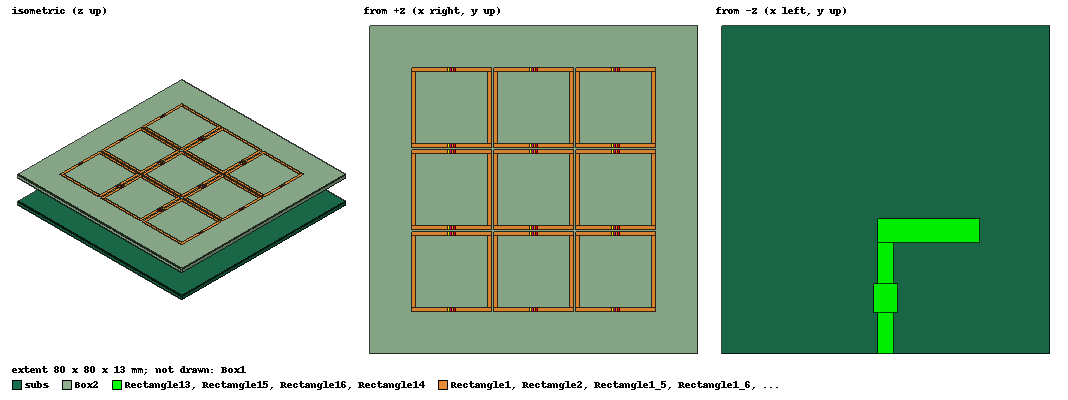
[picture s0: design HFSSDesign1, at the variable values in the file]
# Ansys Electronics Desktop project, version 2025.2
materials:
  vacuum: permittivity=1
  FR4_epoxy: permittivity=4.4 dielectric_loss_tangent=0.02
  air: permittivity=1.0006 permeability=1.0000004

design HFSSDesign1 (HFSS, HFSS Terminal Network, model units mm)
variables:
  h = 1.6mm
  larm = 25mm
  warm = 6mm
  wfeed = 4mm
  lfeed = 10mm
  lgap = 7mm
  wgap = 6mm
  lsub = 80mm
  wsub = 80mm
  l = -2
  l1 = -2mm
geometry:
  subs [FR4_epoxy] = box(corner=(-lsub/2, -wsub/2+10mm, (l1)), size=(lsub, wsub, h))
  Port = rectangle(corner=(-2mm, -40mm, l1), z_size=1.6mm, x_size=4mm)
  Box1 [air] = box(corner=(-75mm, -75mm, -50mm), size=(150mm, 150mm, 100mm))
  Rectangle9 = rectangle(corner=(-wfeed/2, warm/2, (h+l1)), x_size=larm, y_size=-warm)
  Rectangle10 = rectangle(corner=(-wfeed/2, -warm/2, (h+l1)), x_size=wfeed, y_size=-lfeed)
  Rectangle11 = rectangle(corner=(wgap/2, -(lfeed+warm/2), (h+l1)), x_size=-wgap, y_size=-lgap)
  Rectangle12 = rectangle(corner=(-wfeed/2, -(warm/2+lfeed+lgap), (h+l1)), x_size=wfeed, y_size=-lfeed)
  Rectangle13 = rectangle(corner=(wfeed/2, -warm/2, l1), x_size=-larm, y_size=warm)
  Rectangle14 = rectangle(corner=(-wfeed/2, -warm/2, l1), x_size=wfeed, y_size=-lfeed)
  Rectangle15 = rectangle(corner=(wgap/2, -(lfeed+warm/2), l1), x_size=-wgap, y_size=-lgap)
  Rectangle16 = rectangle(corner=(-wfeed/2, -(warm/2+lfeed+lgap), l1), x_size=wfeed, y_size=-lfeed)
  [Rectangle9..Rectangle16].move(0mm, -10mm, 0mm)
  subs.move(0mm, -20mm, 0mm)
  subs.move(0mm, 10mm, 0mm)
  [subs, Port, Rectangle9..Rectangle16].move(0mm, 0mm, -6mm)
  Box2 [FR4_epoxy] = box(corner=(0mm, 0mm, 10mm), size=(80mm, 80mm, 1.6mm))
  Box2.move(-40mm, -40mm, 0mm)
  Box2.move(0mm, 0mm, -6.6mm)
  Box2.move(-40mm, 0mm, 3.4mm)
  Box2.move(90mm, 0mm, -5mm)
  Box2.move(1mm, -0.375mm, 2.2mm)
  Box2.move(-49.5mm, 0.375mm, 4.4mm)
  Box2.move(-1.5mm, 0mm, -10mm)
  Box2.move(0mm, 0mm, 5mm)
  Box2.rotate(axis=X, angle=90deg)
  Box2.rotate(axis=X, angle=180deg)
  Box2.rotate(axis=X, angle=-270deg)
  Rectangle1 = rectangle(corner=(50.25mm, 68.75mm, 11.6mm), x_size=19.5mm, y_size=1mm)
  Rectangle19 = rectangle(corner=(59mm, 68.75mm, 11.6mm), x_size=2mm, y_size=1mm)
  Rectangle1.subtract(Rectangle19)
  Rectangle1_3, Rectangle1_4 = Rectangle1.duplicate_along_line(step=(-20mm, 0mm, 0mm), total=3)
  Rectangle1.move(-40mm, -40mm, 0mm)
  Rectangle1.move(0mm, 0mm, -6.6mm)
  Rectangle1.move(-40mm, 0mm, 3.4mm)
  Rectangle1.move(90mm, 0mm, -5mm)
  Rectangle1.move(1mm, -0.375mm, 2.2mm)
  Rectangle1.move(-49.5mm, 0.375mm, 4.4mm)
  Rectangle1.move(-1.5mm, 0mm, -10mm)
  Rectangle1.move(0mm, 0mm, 5mm)
  Rectangle1.rotate(axis=X, angle=90deg)
  Rectangle1.rotate(axis=X, angle=180deg)
  Rectangle1.rotate(axis=X, angle=-270deg)
  Rectangle1_5, Rectangle1_6 = Rectangle1.duplicate_along_line(step=(0mm, -20mm, 0mm), total=3)
  Rectangle2 = rectangle(corner=(50.25mm, 50.25mm, 11.6mm), x_size=19.5mm, y_size=1mm)
  Rectangle20 = rectangle(corner=(59mm, 50.25mm, 11.6mm), x_size=2mm, y_size=1mm)
  Rectangle2.subtract(Rectangle20)
  Rectangle2_3, Rectangle2_4 = Rectangle2.duplicate_along_line(step=(-20mm, 0mm, 0mm), total=3)
  Rectangle2.move(-40mm, -40mm, 0mm)
  Rectangle2.move(0mm, 0mm, -6.6mm)
  Rectangle2.move(-40mm, 0mm, 3.4mm)
  Rectangle2.move(90mm, 0mm, -5mm)
  Rectangle2.move(1mm, -0.375mm, 2.2mm)
  Rectangle2.move(-49.5mm, 0.375mm, 4.4mm)
  Rectangle2.move(-1.5mm, 0mm, -10mm)
  Rectangle2.move(0mm, 0mm, 5mm)
  Rectangle2.rotate(axis=X, angle=90deg)
  Rectangle2.rotate(axis=X, angle=180deg)
  Rectangle2.rotate(axis=X, angle=-270deg)
  Rectangle2_5, Rectangle2_6 = Rectangle2.duplicate_along_line(step=(0mm, -20mm, 0mm), total=3)
  Rectangle21 = rectangle(corner=(69.75mm, 68.75mm, 11.6mm), x_size=-1mm, y_size=-17.5mm)
  Rectangle21_3, Rectangle21_4 = Rectangle21.duplicate_along_line(step=(-20mm, 0mm, 0mm), total=3)
  Rectangle21.move(-40mm, -40mm, 0mm)
  Rectangle21.move(0mm, 0mm, -6.6mm)
  Rectangle21.move(-40mm, 0mm, 3.4mm)
  Rectangle21.move(90mm, 0mm, -5mm)
  Rectangle21.move(1mm, -0.375mm, 2.2mm)
  Rectangle21.move(-49.5mm, 0.375mm, 4.4mm)
  Rectangle21.move(-1.5mm, 0mm, -10mm)
  Rectangle21.move(0mm, 0mm, 5mm)
  Rectangle21.rotate(axis=X, angle=90deg)
  Rectangle21.rotate(axis=X, angle=180deg)
  Rectangle21.rotate(axis=X, angle=-270deg)
  Rectangle21_5, Rectangle21_6 = Rectangle21.duplicate_along_line(step=(0mm, -20mm, 0mm), total=3)
  Rectangle22 = rectangle(corner=(51.25mm, 68.75mm, 11.6mm), x_size=-1mm, y_size=-17.5mm)
  Rectangle22_3, Rectangle22_4 = Rectangle22.duplicate_along_line(step=(-20mm, 0mm, 0mm), total=3)
  Rectangle22.move(-40mm, -40mm, 0mm)
  Rectangle22.move(0mm, 0mm, -6.6mm)
  Rectangle22.move(-40mm, 0mm, 3.4mm)
  Rectangle22.move(90mm, 0mm, -5mm)
  Rectangle22.move(1mm, -0.375mm, 2.2mm)
  Rectangle22.move(-49.5mm, 0.375mm, 4.4mm)
  Rectangle22.move(-1.5mm, 0mm, -10mm)
  Rectangle22.move(0mm, 0mm, 5mm)
  Rectangle22.rotate(axis=X, angle=90deg)
  Rectangle22.rotate(axis=X, angle=180deg)
  Rectangle22.rotate(axis=X, angle=-270deg)
  Rectangle22_5, Rectangle22_6 = Rectangle22.duplicate_along_line(step=(0mm, -20mm, 0mm), total=3)
  Rectangle1_3.move(-40mm, -40mm, 0mm)
  Rectangle1_3.move(0mm, 0mm, -6.6mm)
  Rectangle1_3.move(-40mm, 0mm, 3.4mm)
  Rectangle1_3.move(90mm, 0mm, -5mm)
  Rectangle1_3.move(1mm, -0.375mm, 2.2mm)
  Rectangle1_3.move(-49.5mm, 0.375mm, 4.4mm)
  Rectangle1_3.move(-1.5mm, 0mm, -10mm)
  Rectangle1_3.move(0mm, 0mm, 5mm)
  Rectangle1_3.rotate(axis=X, angle=90deg)
  Rectangle1_3.rotate(axis=X, angle=180deg)
  Rectangle1_3.rotate(axis=X, angle=-270deg)
  Rectangle1_3_1, Rectangle1_3_2 = Rectangle1_3.duplicate_along_line(step=(0mm, -20mm, 0mm), total=3)
  Rectangle1_4.move(-40mm, -40mm, 0mm)
  Rectangle1_4.move(0mm, 0mm, -6.6mm)
  Rectangle1_4.move(-40mm, 0mm, 3.4mm)
  Rectangle1_4.move(90mm, 0mm, -5mm)
  Rectangle1_4.move(1mm, -0.375mm, 2.2mm)
  Rectangle1_4.move(-49.5mm, 0.375mm, 4.4mm)
  Rectangle1_4.move(-1.5mm, 0mm, -10mm)
  Rectangle1_4.move(0mm, 0mm, 5mm)
  Rectangle1_4.rotate(axis=X, angle=90deg)
  Rectangle1_4.rotate(axis=X, angle=180deg)
  Rectangle1_4.rotate(axis=X, angle=-270deg)
  Rectangle1_4_1, Rectangle1_4_2 = Rectangle1_4.duplicate_along_line(step=(0mm, -20mm, 0mm), total=3)
  Rectangle2_3.move(-40mm, -40mm, 0mm)
  Rectangle2_3.move(0mm, 0mm, -6.6mm)
  Rectangle2_3.move(-40mm, 0mm, 3.4mm)
  Rectangle2_3.move(90mm, 0mm, -5mm)
  Rectangle2_3.move(1mm, -0.375mm, 2.2mm)
  Rectangle2_3.move(-49.5mm, 0.375mm, 4.4mm)
  Rectangle2_3.move(-1.5mm, 0mm, -10mm)
  Rectangle2_3.move(0mm, 0mm, 5mm)
  Rectangle2_3.rotate(axis=X, angle=90deg)
  Rectangle2_3.rotate(axis=X, angle=180deg)
  Rectangle2_3.rotate(axis=X, angle=-270deg)
  Rectangle2_3_1, Rectangle2_3_2 = Rectangle2_3.duplicate_along_line(step=(0mm, -20mm, 0mm), total=3)
  Rectangle2_4.move(-40mm, -40mm, 0mm)
  Rectangle2_4.move(0mm, 0mm, -6.6mm)
  Rectangle2_4.move(-40mm, 0mm, 3.4mm)
  Rectangle2_4.move(90mm, 0mm, -5mm)
  Rectangle2_4.move(1mm, -0.375mm, 2.2mm)
  Rectangle2_4.move(-49.5mm, 0.375mm, 4.4mm)
  Rectangle2_4.move(-1.5mm, 0mm, -10mm)
  Rectangle2_4.move(0mm, 0mm, 5mm)
  Rectangle2_4.rotate(axis=X, angle=90deg)
  Rectangle2_4.rotate(axis=X, angle=180deg)
  Rectangle2_4.rotate(axis=X, angle=-270deg)
  Rectangle2_4_1, Rectangle2_4_2 = Rectangle2_4.duplicate_along_line(step=(0mm, -20mm, 0mm), total=3)
  Rectangle21_3.move(-40mm, -40mm, 0mm)
  Rectangle21_3.move(0mm, 0mm, -6.6mm)
  Rectangle21_3.move(-40mm, 0mm, 3.4mm)
  Rectangle21_3.move(90mm, 0mm, -5mm)
  Rectangle21_3.move(1mm, -0.375mm, 2.2mm)
  Rectangle21_3.move(-49.5mm, 0.375mm, 4.4mm)
  Rectangle21_3.move(-1.5mm, 0mm, -10mm)
  Rectangle21_3.move(0mm, 0mm, 5mm)
  Rectangle21_3.rotate(axis=X, angle=90deg)
  Rectangle21_3.rotate(axis=X, angle=180deg)
  Rectangle21_3.rotate(axis=X, angle=-270deg)
  Rectangle21_3_1, Rectangle21_3_2 = Rectangle21_3.duplicate_along_line(step=(0mm, -20mm, 0mm), total=3)
  Rectangle21_4.move(-40mm, -40mm, 0mm)
  Rectangle21_4.move(0mm, 0mm, -6.6mm)
  Rectangle21_4.move(-40mm, 0mm, 3.4mm)
  Rectangle21_4.move(90mm, 0mm, -5mm)
  Rectangle21_4.move(1mm, -0.375mm, 2.2mm)
  Rectangle21_4.move(-49.5mm, 0.375mm, 4.4mm)
  Rectangle21_4.move(-1.5mm, 0mm, -10mm)
  Rectangle21_4.move(0mm, 0mm, 5mm)
  Rectangle21_4.rotate(axis=X, angle=90deg)
  Rectangle21_4.rotate(axis=X, angle=180deg)
  Rectangle21_4.rotate(axis=X, angle=-270deg)
  Rectangle21_4_1, Rectangle21_4_2 = Rectangle21_4.duplicate_along_line(step=(0mm, -20mm, 0mm), total=3)
  Rectangle22_3.move(-40mm, -40mm, 0mm)
  Rectangle22_3.move(0mm, 0mm, -6.6mm)
  Rectangle22_3.move(-40mm, 0mm, 3.4mm)
  Rectangle22_3.move(90mm, 0mm, -5mm)
  Rectangle22_3.move(1mm, -0.375mm, 2.2mm)
  Rectangle22_3.move(-49.5mm, 0.375mm, 4.4mm)
  Rectangle22_3.move(-1.5mm, 0mm, -10mm)
  Rectangle22_3.move(0mm, 0mm, 5mm)
  Rectangle22_3.rotate(axis=X, angle=90deg)
  Rectangle22_3.rotate(axis=X, angle=180deg)
  Rectangle22_3.rotate(axis=X, angle=-270deg)
  Rectangle22_3_1, Rectangle22_3_2 = Rectangle22_3.duplicate_along_line(step=(0mm, -20mm, 0mm), total=3)
  Rectangle22_4.move(-40mm, -40mm, 0mm)
  Rectangle22_4.move(0mm, 0mm, -6.6mm)
  Rectangle22_4.move(-40mm, 0mm, 3.4mm)
  Rectangle22_4.move(90mm, 0mm, -5mm)
  Rectangle22_4.move(1mm, -0.375mm, 2.2mm)
  Rectangle22_4.move(-49.5mm, 0.375mm, 4.4mm)
  Rectangle22_4.move(-1.5mm, 0mm, -10mm)
  Rectangle22_4.move(0mm, 0mm, 5mm)
  Rectangle22_4.rotate(axis=X, angle=90deg)
  Rectangle22_4.rotate(axis=X, angle=180deg)
  Rectangle22_4.rotate(axis=X, angle=-270deg)
  Rectangle22_4_1, Rectangle22_4_2 = Rectangle22_4.duplicate_along_line(step=(0mm, -20mm, 0mm), total=3)
  C1 = rectangle(corner=(-21mm, 29.75mm, 5mm), x_size=0.5mm, y_size=-1mm)
  C1_1 = C1.duplicate_along_line(step=(20mm, 3.5527137e-15mm, 0mm), total=2)
  C1_2, C1_3 = C1.duplicate_along_line(step=(0mm, -20mm, 0mm), total=3)
  L1 = rectangle(corner=(-20.5mm, 29.75mm, 5mm), x_size=0.5mm, y_size=-1mm)
  L1_1 = L1.duplicate_along_line(step=(20mm, 3.5527137e-15mm, 0mm), total=2)
  L1_2, L1_3 = L1.duplicate_along_line(step=(0mm, -20mm, 0mm), total=3)
  R1 = rectangle(corner=(-20mm, 29.75mm, 5mm), x_size=0.5mm, y_size=-1mm)
  R1_1 = R1.duplicate_along_line(step=(20mm, 3.5527137e-15mm, 0mm), total=2)
  R1_2, R1_3 = R1.duplicate_along_line(step=(0mm, -20mm, 0mm), total=3)
  C2 = rectangle(corner=(-19.5mm, 29.75mm, 5mm), x_size=0.5mm, y_size=-1mm)
  C2_1 = C2.duplicate_along_line(step=(20mm, 3.5527137e-15mm, 0mm), total=2)
  C2_2, C2_3 = C2.duplicate_along_line(step=(0mm, -20mm, 0mm), total=3)
  C1_1_1 = C1_1.duplicate_along_line(step=(20mm, -7.1054274e-15mm, 0mm), total=2)
  C1_1_2, C1_1_3 = C1_1.duplicate_along_line(step=(0mm, -20mm, 0mm), total=3)
  C1_1_5, C1_1_6 = C1_1.duplicate_along_line(step=(0mm, -20mm, 0mm), total=3)
  L1_1_1 = L1_1.duplicate_along_line(step=(20mm, -7.1054274e-15mm, 0mm), total=2)
  L1_1_2, L1_1_3 = L1_1.duplicate_along_line(step=(0mm, -20mm, 0mm), total=3)
  L1_1_5, L1_1_6 = L1_1.duplicate_along_line(step=(0mm, -20mm, 0mm), total=3)
  R1_1_1 = R1_1.duplicate_along_line(step=(20mm, -7.1054274e-15mm, 0mm), total=2)
  R1_1_2, R1_1_3 = R1_1.duplicate_along_line(step=(0mm, -20mm, 0mm), total=3)
  R1_1_5, R1_1_6 = R1_1.duplicate_along_line(step=(0mm, -20mm, 0mm), total=3)
  C2_1_1 = C2_1.duplicate_along_line(step=(20mm, -7.1054274e-15mm, 0mm), total=2)
  C2_1_2, C2_1_3 = C2_1.duplicate_along_line(step=(0mm, -20mm, 0mm), total=3)
  C2_1_5, C2_1_6 = C2_1.duplicate_along_line(step=(0mm, -20mm, 0mm), total=3)
  C1_1_1_1 = C1_1_1.duplicate_along_line(step=(0mm, -18.5mm, 0mm), total=3)  # copies kept: 1
  L1_1_1_1 = L1_1_1.duplicate_along_line(step=(0mm, -18.5mm, 0mm), total=3)  # copies kept: 1
  R1_1_1_1 = R1_1_1.duplicate_along_line(step=(0mm, -18.5mm, 0mm), total=3)  # copies kept: 1
  C2_1_1_1 = C2_1_1.duplicate_along_line(step=(0mm, -18.5mm, 0mm), total=3)  # copies kept: 1
  C1_2_1 = C1_2.duplicate_along_line(step=(0mm, 1.5mm, 0mm), total=2)
  L1_2_1 = L1_2.duplicate_along_line(step=(0mm, 1.5mm, 0mm), total=2)
  R1_2_1 = R1_2.duplicate_along_line(step=(0mm, 1.5mm, 0mm), total=2)
  C2_2_1 = C2_2.duplicate_along_line(step=(0mm, 1.5mm, 0mm), total=2)
  C1_2_1_1, C1_2_1_2 = C1_2_1.duplicate_along_line(step=(0mm, -20mm, 0mm), total=3)
  L1_2_1_1, L1_2_1_2 = L1_2_1.duplicate_along_line(step=(0mm, -20mm, 0mm), total=3)
  R1_2_1_1, R1_2_1_2 = R1_2_1.duplicate_along_line(step=(0mm, -20mm, 0mm), total=3)
  C2_2_1_1, C2_2_1_2 = C2_2_1.duplicate_along_line(step=(0mm, -20mm, 0mm), total=3)
  R1_1_2_1 = R1_1_2.duplicate_along_line(step=(0mm, 1.5mm, 0mm), total=2)
  R1_1_2_2 = R1_1_2.duplicate_along_line(step=(0mm, -20mm, 0mm), total=3)  # copies kept: 1
  C2_1_2_1 = C2_1_2.duplicate_along_line(step=(0mm, 1.5mm, 0mm), total=2)
  C2_1_2_2 = C2_1_2.duplicate_along_line(step=(0mm, -20mm, 0mm), total=3)  # copies kept: 1
  L1_1_2_1 = L1_1_2.duplicate_along_line(step=(0mm, 1.5mm, 0mm), total=2)
  L1_1_2_2 = L1_1_2.duplicate_along_line(step=(0mm, -20mm, 0mm), total=3)  # copies kept: 1
  C1_1_2_1 = C1_1_2.duplicate_along_line(step=(0mm, 1.5mm, 0mm), total=2)
  C1_1_2_2 = C1_1_2.duplicate_along_line(step=(0mm, -20mm, 0mm), total=3)  # copies kept: 1
  C1_1_2_1_1, C1_1_2_1_2 = C1_1_2_1.duplicate_along_line(step=(0mm, -20mm, 0mm), total=3)
  L1_1_2_1_1, L1_1_2_1_2 = L1_1_2_1.duplicate_along_line(step=(0mm, -20mm, 0mm), total=3)
  R1_1_2_1_1, R1_1_2_1_2 = R1_1_2_1.duplicate_along_line(step=(0mm, -20mm, 0mm), total=3)
  C2_1_2_1_1, C2_1_2_1_2 = C2_1_2_1.duplicate_along_line(step=(0mm, -20mm, 0mm), total=3)
  L1_1_1_1_1 = L1_1_1_1.duplicate_along_line(step=(0mm, -1.5mm, 0mm), total=2)
  L1_1_1_1_2, L1_1_1_1_3 = L1_1_1_1.duplicate_along_line(step=(0mm, -20mm, 0mm), total=3)
  C1_1_1_1_1 = C1_1_1_1.duplicate_along_line(step=(0mm, -1.5mm, 0mm), total=2)
  C1_1_1_1_2, C1_1_1_1_3 = C1_1_1_1.duplicate_along_line(step=(0mm, -20mm, 0mm), total=3)
  R1_1_1_1_1 = R1_1_1_1.duplicate_along_line(step=(0mm, -1.5mm, 0mm), total=2)
  R1_1_1_1_2, R1_1_1_1_3 = R1_1_1_1.duplicate_along_line(step=(0mm, -20mm, 0mm), total=3)
  C2_1_1_1_1 = C2_1_1_1.duplicate_along_line(step=(0mm, -1.5mm, 0mm), total=2)
  C2_1_1_1_2, C2_1_1_1_3 = C2_1_1_1.duplicate_along_line(step=(0mm, -20mm, 0mm), total=3)
  C1_1_1_1_2_1 = C1_1_1_1_2.duplicate_along_line(step=(0mm, -1.5mm, 0mm), total=2)
  L1_1_1_1_2_1 = L1_1_1_1_2.duplicate_along_line(step=(0mm, -1.5mm, 0mm), total=2)
  R1_1_1_1_2_1 = R1_1_1_1_2.duplicate_along_line(step=(0mm, -1.5mm, 0mm), total=2)
  C2_1_1_1_2_1 = C2_1_1_1_2.duplicate_along_line(step=(0mm, -1.5mm, 0mm), total=2)
  group topface = Rectangle9..Rectangle12
  group bottomface = Rectangle13..Rectangle16
  group METASURFACE1 = Rectangle1, Rectangle2, Rectangle21, Rectangle22, Rectangle1_3, Rectangle1_4, Rectangle2_3, Rectangle2_4, Rectangle21_3, Rectangle21_4, Rectangle22_3, Rectangle22_4, Rectangle1_5, Rectangle1_6, Rectangle2_5, Rectangle2_6, Rectangle21_5, Rectangle21_6, Rectangle22_5, Rectangle22_6, Rectangle1_3_1, Rectangle1_3_2, Rectangle1_4_1, Rectangle1_4_2, Rectangle2_3_1, Rectangle2_3_2, Rectangle2_4_1, Rectangle2_4_2, Rectangle21_3_1, Rectangle21_3_2, Rectangle21_4_1, Rectangle21_4_2, Rectangle22_3_1, Rectangle22_3_2, Rectangle22_4_1, Rectangle22_4_2
  group meta = Box2, C1, L1, R1, C2, C1_1, L1_1, R1_1, C2_1, C1_1_1, L1_1_1, R1_1_1, C2_1_1, C1_2, C1_3, L1_2, L1_3, R1_2, R1_3, C2_2, C2_3, C1_2_1, L1_2_1, R1_2_1, C2_2_1, C1_2_1_1, C1_2_1_2, L1_2_1_1, L1_2_1_2, R1_2_1_1, R1_2_1_2, C2_2_1_1, C2_2_1_2, R1_1_2, R1_1_3, C2_1_2, C2_1_3, L1_1_2, L1_1_3, C1_1_2, C1_1_3, C1_1_2_1, L1_1_2_1, R1_1_2_1, C2_1_2_1, R1_1_5, R1_1_6, C2_1_5, C2_1_6, L1_1_5, L1_1_6, C1_1_5, C1_1_6, C1_1_2_2, L1_1_2_2, R1_1_2_2, C2_1_2_2, C1_1_2_1_1, C1_1_2_1_2, L1_1_2_1_1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
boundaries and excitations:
  Rad1: Radiation Objects=Box1
  PerfE1: Perfect E Objects=[Rectangle13..Rectangle16]
  PerfE2: Perfect E Objects=[Rectangle9..Rectangle12]
  meta_perfE: Perfect E Objects=[Rectangle2_4, Rectangle21_4, Rectangle22_3, Rectangle2_3, Rectangle21_3, Rectangle22, Rectangle2, Rectangle21, Rectangle1, Rectangle1_3, Rectangle1_4, Rectangle22_4]
  meta_perfE1: Perfect E Objects=[Rectangle2_4_1, Rectangle21_4_1, Rectangle22_3_1, Rectangle2_3_1, Rectangle21_3_1, Rectangle22_5, Rectangle2_5, Rectangle21_5, Rectangle1_5, Rectangle1_3_1, Rectangle1_4_1, Rectangle22_4_1]
  meta_perfE2: Perfect E Objects=[Rectangle2_4_2, Rectangle21_4_2, Rectangle22_3_2, Rectangle2_3_2, Rectangle21_3_2, Rectangle22_6, Rectangle2_6, Rectangle21_6, Rectangle1_6, Rectangle1_3_2, Rectangle1_4_2, Rectangle22_4_2]
  metac1: Lumped RLC Objects=C1 CurrentLine{(-20.5, 29.2, 5) -> (-21, 29.2, 5)} RLC_Type=Serial Capacitance=0.5uF
  metac2: Lumped RLC Objects=C2 CurrentLine{(-19, 29.2, 5) -> (-19.5, 29.2, 5)} RLC_Type=Serial Capacitance=0.5uF
  metal1: Lumped RLC Objects=L1 CurrentLine{(-20, 29.2, 5) -> (-20.5, 29.2, 5)} RLC_Type=Serial Inductance=0.4nH
  metar: Lumped RLC Objects=R1 CurrentLine{(-19.5, 29.2, 5) -> (-20, 29.2, 5)} RLC_Type=Serial Resistance=2ohm
  metac3: Lumped RLC Objects=C1_1 CurrentLine{(-0.5, 29.2, 5) -> (-1, 29.2, 5)} RLC_Type=Serial Capacitance=0.5uF
  metac4: Lumped RLC Objects=C2_1 CurrentLine{(1, 29.2, 5) -> (0.5, 29.2, 5)} RLC_Type=Serial Capacitance=0.5uF
  metal2: Lumped RLC Objects=L1_1 CurrentLine{(0, 29.2, 5) -> (-0.5, 29.2, 5)} RLC_Type=Serial Inductance=0.4nH
  metar1: Lumped RLC Objects=R1_1 CurrentLine{(0.5, 29.2, 5) -> (0, 29.2, 5)} RLC_Type=Serial Resistance=2ohm
  metac5: Lumped RLC Objects=C1_1_1 CurrentLine{(19.5, 29.2, 5) -> (19, 29.2, 5)} RLC_Type=Serial Capacitance=0.5uF
  metac6: Lumped RLC Objects=C2_1_1 CurrentLine{(21, 29.2, 5) -> (20.5, 29.2, 5)} RLC_Type=Serial Capacitance=0.5uF
  metal3: Lumped RLC Objects=L1_1_1 CurrentLine{(20, 29.2, 5) -> (19.5, 29.2, 5)} RLC_Type=Serial Inductance=0.4nH
  metar2: Lumped RLC Objects=R1_1_1 CurrentLine{(20.5, 29.2, 5) -> (20, 29.2, 5)} RLC_Type=Serial Resistance=2ohm
  metac7: Lumped RLC Objects=C1_2 CurrentLine{(-20.5, 9.2, 5) -> (-21, 9.2, 5)} RLC_Type=Serial Capacitance=0.5uF
  metac8: Lumped RLC Objects=C2_2 CurrentLine{(-19, 9.2, 5) -> (-19.5, 9.2, 5)} RLC_Type=Serial Capacitance=0.5uF
  metal4: Lumped RLC Objects=L1_2 CurrentLine{(-20, 9.2, 5) -> (-20.5, 9.2, 5)} RLC_Type=Serial Inductance=0.4nH
  metar3: Lumped RLC Objects=R1_2 CurrentLine{(-19.5, 9.2, 5) -> (-20, 9.2, 5)} RLC_Type=Serial Resistance=2ohm
  metac9: Lumped RLC Objects=C1_3 CurrentLine{(-20.5, -10.8, 5) -> (-21, -10.8, 5)} RLC_Type=Serial Capacitance=0.5uF
  metac10: Lumped RLC Objects=C2_3 CurrentLine{(-19, -10.8, 5) -> (-19.5, -10.8, 5)} RLC_Type=Serial Capacitance=0.5uF
  metal5: Lumped RLC Objects=L1_3 CurrentLine{(-20, -10.8, 5) -> (-20.5, -10.8, 5)} RLC_Type=Serial Inductance=0.4nH
  metar4: Lumped RLC Objects=R1_3 CurrentLine{(-19.5, -10.8, 5) -> (-20, -10.8, 5)} RLC_Type=Serial Resistance=2ohm
  metac11: Lumped RLC Objects=C1_2_1 CurrentLine{(-20.5, 10.7, 5) -> (-21, 10.7, 5)} RLC_Type=Serial Capacitance=0.5uF
  metac12: Lumped RLC Objects=C2_2_1 CurrentLine{(-19, 10.7, 5) -> (-19.5, 10.7, 5)} RLC_Type=Serial Capacitance=0.5uF
  metal6: Lumped RLC Objects=L1_2_1 CurrentLine{(-20, 10.7, 5) -> (-20.5, 10.7, 5)} RLC_Type=Serial Inductance=0.4nH
  metar5: Lumped RLC Objects=R1_2_1 CurrentLine{(-19.5, 10.7, 5) -> (-20, 10.7, 5)} RLC_Type=Serial Resistance=2ohm
  metac13: Lumped RLC Objects=C1_2_1_1 CurrentLine{(-20.5, -9.3, 5) -> (-21, -9.3, 5)} RLC_Type=Serial Capacitance=0.5uF
  metac14: Lumped RLC Objects=C2_2_1_1 CurrentLine{(-19, -9.3, 5) -> (-19.5, -9.3, 5)} RLC_Type=Serial Capacitance=0.5uF
  metal7: Lumped RLC Objects=L1_2_1_1 CurrentLine{(-20, -9.3, 5) -> (-20.5, -9.3, 5)} RLC_Type=Serial Inductance=0.4nH
  metar6: Lumped RLC Objects=R1_2_1_1 CurrentLine{(-19.5, -9.3, 5) -> (-20, -9.3, 5)} RLC_Type=Serial Resistance=2ohm
  metac15: Lumped RLC Objects=C1_2_1_2 CurrentLine{(-20.5, -29.3, 5) -> (-21, -29.3, 5)} RLC_Type=Serial Capacitance=0.5uF
  metac16: Lumped RLC Objects=C2_2_1_2 CurrentLine{(-19, -29.3, 5) -> (-19.5, -29.3, 5)} RLC_Type=Serial Capacitance=0.5uF
  metal8: Lumped RLC Objects=L1_2_1_2 CurrentLine{(-20, -29.3, 5) -> (-20.5, -29.3, 5)} RLC_Type=Serial Inductance=0.4nH
  metar7: Lumped RLC Objects=R1_2_1_2 CurrentLine{(-19.5, -29.3, 5) -> (-20, -29.3, 5)} RLC_Type=Serial Resistance=2ohm
  metac17: Lumped RLC Objects=C1_1_2 CurrentLine{(-0.5, 9.2, 5) -> (-1, 9.2, 5)} RLC_Type=Serial Capacitance=0.5uF
  metac18: Lumped RLC Objects=C2_1_2 CurrentLine{(1, 9.2, 5) -> (0.5, 9.2, 5)} RLC_Type=Serial Capacitance=0.5uF
  metal9: Lumped RLC Objects=L1_1_2 CurrentLine{(0, 9.2, 5) -> (-0.5, 9.2, 5)} RLC_Type=Serial Inductance=0.4nH
  metar8: Lumped RLC Objects=R1_1_2 CurrentLine{(0.5, 9.2, 5) -> (0, 9.2, 5)} RLC_Type=Serial Resistance=2ohm
  metac19: Lumped RLC Objects=C1_1_3 CurrentLine{(-0.5, -10.8, 5) -> (-1, -10.8, 5)} RLC_Type=Serial Capacitance=0.5uF
  metac20: Lumped RLC Objects=C2_1_3 CurrentLine{(1, -10.8, 5) -> (0.5, -10.8, 5)} RLC_Type=Serial Capacitance=0.5uF
  metal10: Lumped RLC Objects=L1_1_3 CurrentLine{(0, -10.8, 5) -> (-0.5, -10.8, 5)} RLC_Type=Serial Inductance=0.4nH
  metar9: Lumped RLC Objects=R1_1_3 CurrentLine{(0.5, -10.8, 5) -> (0, -10.8, 5)} RLC_Type=Serial Resistance=2ohm
  metac23: Lumped RLC Objects=C1_1_2_1 CurrentLine{(-0.5, 10.7, 5) -> (-1, 10.7, 5)} RLC_Type=Serial Capacitance=0.5uF
  metac24: Lumped RLC Objects=C2_1_2_1 CurrentLine{(1, 10.7, 5) -> (0.5, 10.7, 5)} RLC_Type=Serial Capacitance=0.5uF
  metar11: Lumped RLC Objects=R1_1_2_1 CurrentLine{(0.5, 10.7, 5) -> (0, 10.7, 5)} RLC_Type=Serial Resistance=2ohm
  metac29: Lumped RLC Objects=C1_1_2_1_1 CurrentLine{(-0.5, -9.3, 5) -> (-1, -9.3, 5)} RLC_Type=Serial Capacitance=0.5uF
  metac30: Lumped RLC Objects=C2_1_2_1_1 CurrentLine{(1, -9.3, 5) -> (0.5, -9.3, 5)} RLC_Type=Serial Capacitance=0.5uF
  metal15: Lumped RLC Objects=L1_1_2_1_1 CurrentLine{(0, -9.3, 5) -> (-0.5, -9.3, 5)} RLC_Type=Serial Inductance=0.4nH
  metar14: Lumped RLC Objects=R1_1_2_1_1 CurrentLine{(0.5, -9.3, 5) -> (0, -9.3, 5)} RLC_Type=Serial Resistance=2ohm
  metac35: Lumped RLC Objects=C1_1_2_1_2 CurrentLine{(-0.5, -29.3, 5) -> (-1, -29.3, 5)} RLC_Type=Serial Capacitance=0.5uF
  metac36: Lumped RLC Objects=C2_1_2_1_2 CurrentLine{(1, -29.3, 5) -> (0.5, -29.3, 5)} RLC_Type=Serial Capacitance=0.5uF
  metal18: Lumped RLC Objects=L1_1_2_1_2 CurrentLine{(0, -29.3, 5) -> (-0.5, -29.3, 5)} RLC_Type=Serial Inductance=0.4nH
  metar17: Lumped RLC Objects=R1_1_2_1_2 CurrentLine{(0.5, -29.3, 5) -> (0, -29.3, 5)} RLC_Type=Serial Resistance=2ohm
  metac37: Lumped RLC Objects=C1_1_1_1 CurrentLine{(19.5, 10.7, 5) -> (19, 10.7, 5)} RLC_Type=Serial Capacitance=0.5uF
  metac38: Lumped RLC Objects=C2_1_1_1 CurrentLine{(21, 10.7, 5) -> (20.5, 10.7, 5)} RLC_Type=Serial Capacitance=0.5uF
  metal19: Lumped RLC Objects=L1_1_1_1 CurrentLine{(20, 10.7, 5) -> (19.5, 10.7, 5)} RLC_Type=Serial Inductance=0.4nH
  metar18: Lumped RLC Objects=R1_1_1_1 CurrentLine{(20.5, 10.7, 5) -> (20, 10.7, 5)} RLC_Type=Serial Resistance=2ohm
  metac39: Lumped RLC Objects=C1_1_1_1_1 CurrentLine{(19.5, 9.2, 5) -> (19, 9.2, 5)} RLC_Type=Serial Capacitance=0.5uF
  metac40: Lumped RLC Objects=C2_1_1_1_1 CurrentLine{(21, 9.2, 5) -> (20.5, 9.2, 5)} RLC_Type=Serial Capacitance=0.5uF
  metal20: Lumped RLC Objects=L1_1_1_1_1 CurrentLine{(20, 9.2, 5) -> (19.5, 9.2, 5)} RLC_Type=Serial Inductance=0.4nH
  metar19: Lumped RLC Objects=R1_1_1_1_1 CurrentLine{(20.5, 9.2, 5) -> (20, 9.2, 5)} RLC_Type=Serial Resistance=2ohm
  metac41: Lumped RLC Objects=C1_1_1_1_2 CurrentLine{(19.5, -9.3, 5) -> (19, -9.3, 5)} RLC_Type=Serial Capacitance=0.5uF
  metac42: Lumped RLC Objects=C2_1_1_1_2 CurrentLine{(21, -9.3, 5) -> (20.5, -9.3, 5)} RLC_Type=Serial Capacitance=0.5uF
  metal21: Lumped RLC Objects=L1_1_1_1_2 CurrentLine{(20, -9.3, 5) -> (19.5, -9.3, 5)} RLC_Type=Serial Inductance=0.4nH
  metar20: Lumped RLC Objects=R1_1_1_1_2 CurrentLine{(20.5, -9.3, 5) -> (20, -9.3, 5)} RLC_Type=Serial Resistance=2ohm
  metac43: Lumped RLC Objects=C1_1_1_1_3 CurrentLine{(19.5, -29.3, 5) -> (19, -29.3, 5)} RLC_Type=Serial Capacitance=0.5uF
  metac44: Lumped RLC Objects=C2_1_1_1_3 CurrentLine{(21, -29.3, 5) -> (20.5, -29.3, 5)} RLC_Type=Serial Capacitance=0.5uF
  metal22: Lumped RLC Objects=L1_1_1_1_3 CurrentLine{(20, -29.3, 5) -> (19.5, -29.3, 5)} RLC_Type=Serial Inductance=0.4nH
  metar21: Lumped RLC Objects=R1_1_1_1_3 CurrentLine{(20.5, -29.3, 5) -> (20, -29.3, 5)} RLC_Type=Serial Resistance=2ohm
  metac45: Lumped RLC Objects=C1_1_1_1_2_1 CurrentLine{(19.5, -10.8, 5) -> (19, -10.8, 5)} RLC_Type=Serial Capacitance=0.5uF
  metac46: Lumped RLC Objects=C2_1_1_1_2_1 CurrentLine{(21, -10.8, 5) -> (20.5, -10.8, 5)} RLC_Type=Serial Capacitance=0.5uF
  metal23: Lumped RLC Objects=L1_1_1_1_2_1 CurrentLine{(20, -10.8, 5) -> (19.5, -10.8, 5)} RLC_Type=Serial Inductance=0.4nH
  metar22: Lumped RLC Objects=R1_1_1_1_2_1 CurrentLine{(20.5, -10.8, 5) -> (20, -10.8, 5)} RLC_Type=Serial Resistance=2ohm
  1: Lumped Port Objects=Port LumpedPortType=Modal Modes{Mode1{IntLine{(0, -40, -8) -> (0, -40, -6.4)} CharImp=Zpi RenormImp=50ohm}} Impedance=50ohm
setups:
  Setup1: HfssDriven Frequency=2.4GHz MaxDeltaS=0.02 MaximumPasses=6 MinimumPasses=1 MinimumConvergedPasses=1 PercentRefinement=30 BasisOrder=1 PortAccuracy=2 DrivenSolverType="Direct Solver"
    sweep Sweep: 1.2GHz to 7GHz, 101 points; Type=Fast SaveFields
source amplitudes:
  1:1: 1V 0deg
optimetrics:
  ParametricSetup2: Parametric Sim._Setups=[Setup1]
    sweep l1: LIN -10mm -1mm 0.5mm
    calculate dB(S(1,1)) on Setup1 : Sweep at Freq 2.418GHz
